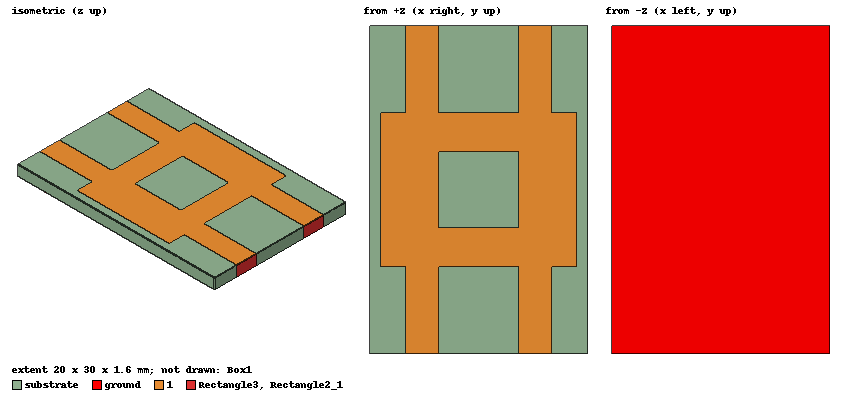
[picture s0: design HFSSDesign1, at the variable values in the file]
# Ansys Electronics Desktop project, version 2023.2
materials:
  vacuum: permittivity=1
  FR4_epoxy: permittivity=4.4 dielectric_loss_tangent=0.02
  air: permittivity=1.0006 permeability=1.0000004

design HFSSDesign1 (HFSS, HFSS Terminal Network, model units mm)
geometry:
  ground = rectangle(corner=(-10mm, -15mm, 0mm), x_size=20mm, y_size=30mm)
  substrate [FR4_epoxy] = box(corner=(-10mm, -15mm, 0mm), size=(20mm, 30mm, 1.6mm))
  patch = rectangle(corner=((-17.87/2) mm, (-14.03 /2) mm, 1.6mm), x_size=17.87mm, y_size=14.03mm)
  Rectangle1 = rectangle(corner=((-7.27/2) mm, (-7.03/2) mm, 1.6mm), x_size=7.27mm, y_size=7.03mm)
  patch.subtract(Rectangle1)
  1 = rectangle(corner=((-7.27/2) mm, -15mm, 1.6mm), x_size=-3mm, y_size=8mm)
  4 = rectangle(corner=((7.27/2) mm, -15mm, 1.6mm), x_size=3mm, y_size=8mm)
  3 = rectangle(corner=((7.27/2) mm, 15mm, 1.6mm), x_size=3mm, y_size=-8mm)
  2_1 = rectangle(corner=((-7.27/2) mm, 15mm, 1.6mm), x_size=-3mm, y_size=-8mm)
  Rectangle3 = rectangle(corner=(3.635mm, 15mm, 1.6mm), z_size=-1.6mm, x_size=3.005mm)
  Rectangle1_1 = rectangle(corner=(-6.635mm, -15mm, 1.6mm), z_size=-1.6mm, x_size=2.995mm)
  Rectangle4 = rectangle(corner=(3.635mm, -15mm, 1.6mm), z_size=-1.6mm, x_size=3.005mm)
  Rectangle2_1 = rectangle(corner=(-6.635mm, 15mm, 1.6mm), z_size=-1.6mm, x_size=2.985mm)
  1.unite(patch, 2_1, 3, 4)
  Box1 [air] = box(corner=(-25mm, -25mm, -25mm), size=(50mm, 50mm, 50mm))
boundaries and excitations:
  PerfE1: Perfect E Objects=ground
  PerfE2: Perfect E Objects=1
  Rad1: Radiation Objects=Box1
  1: Lumped Port Objects=Rectangle1_1 LumpedPortType=Modal Modes{Mode1{IntLine{(-5.1375, -15, 0) -> (-5.135, -15, 1.6)} CharImp=Zpi}} Impedance=50ohm
  2: Lumped Port Objects=Rectangle2_1 LumpedPortType=Modal Modes{Mode1{IntLine{(-5.1425, 15, 0) -> (-5.1425, 15, 1.6)} CharImp=Zpi}} Impedance=50ohm
  3: Lumped Port Objects=Rectangle3 LumpedPortType=Modal Modes{Mode1{IntLine{(5.2, 15, 0) -> (5.1375, 15, 1.6)} CharImp=Zpi}} Impedance=50ohm
  4: Lumped Port Objects=Rectangle4 LumpedPortType=Modal Modes{Mode1{IntLine{(5.1375, -15, 0) -> (5.1375, -15, 1.6)} CharImp=Zpi}} Impedance=50ohm
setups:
  Setup1: HfssDriven Frequency=4GHz MaxDeltaS=0.02 MaximumPasses=6 MinimumPasses=1 MinimumConvergedPasses=1 PercentRefinement=30 BasisOrder=1 PortAccuracy=2 DrivenSolverType="Direct Solver"
    sweep Sweep: 2GHz to 6GHz, 401 points; Type=Interpolating InterpTolerance=0.5 InterpMaxSolns=250 PassivityErrorTolerance=0.0001
    sweep Sweep1: 1GHz to 6GHz, 401 points; Type=Interpolating InterpTolerance=0.5 InterpMaxSolns=250 PassivityErrorTolerance=0.0001
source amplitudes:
  1:1: 1V 0deg
  2:1, 3:1, 4:1: 0V 0deg
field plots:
  Mag_E1: E Field over 1.face(at (0, 0, 1.6)) on Setup1 : LastAdaptive at Freq=4GHz Phase=0deg
